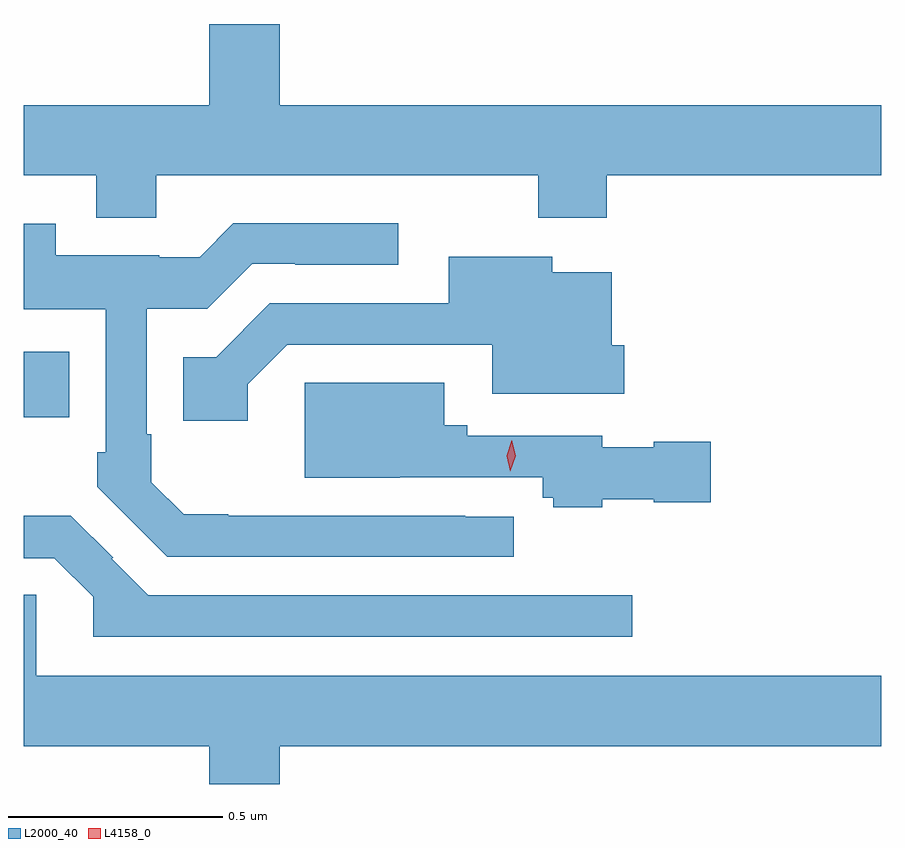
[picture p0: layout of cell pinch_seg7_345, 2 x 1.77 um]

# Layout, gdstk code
import gdstk
lib = gdstk.Library(unit=1e-6, precision=1e-09)
def R(c, l, rs):  # rectangles x0, y0, x1, y1
    for r in rs: c.add(gdstk.rectangle(r[:2], r[2:], *l))
def P(c, l, *ps):  # polygons
    for p in ps: c.add(gdstk.Polygon(p, *l))
L2000_40 = (2000, 40)
L4158_0 = (4158, 0)

pinch_seg7_345 = lib.new_cell('pinch_seg7_345')
R(pinch_seg7_345, L2000_40, [(368.371,1069.316,368.477,1069.468)])
P(pinch_seg7_345, L2000_40, [(368.68,1069.88),(369.571,1069.88),(369.571,1069.781),(369.731,1069.781),(369.731,1069.88),(370.371,1069.88),(370.371,1070.044),(368.968,1070.044),(368.968,1070.233),(368.804,1070.233),(368.804,1070.044),(368.371,1070.044),(368.371,1069.88),(368.54,1069.88),(368.54,1069.781),(368.68,1069.781)],
  [(369.514,1069.084),(369.401,1069.084),(369.401,1069.086),(368.848,1069.086),(368.848,1069.089),(368.744,1069.089),(368.668,1069.164),(368.668,1069.276),(368.658,1069.276),(368.658,1069.569),(368.799,1069.569),(368.904,1069.674),(369.004,1069.674),(369.004,1069.671),(369.244,1069.671),(369.244,1069.768),(368.86,1069.768),(368.781,1069.689),(368.687,1069.689),(368.687,1069.693),(368.446,1069.693),(368.446,1069.767),(368.371,1069.767),(368.371,1069.568),(368.562,1069.568),(368.562,1069.234),(368.542,1069.234),(368.542,1069.153),(368.705,1068.99),(369.514,1068.99)],
  [(368.893,1069.393),(368.985,1069.485),(369.464,1069.485),(369.464,1069.37),(369.772,1069.37),(369.772,1069.484),(369.742,1069.484),(369.742,1069.654),(369.604,1069.654),(369.604,1069.69),(369.362,1069.69),(369.362,1069.581),(368.945,1069.581),(368.82,1069.456),(368.743,1069.456),(368.743,1069.308),(368.893,1069.308)],
  [(369.72,1069.124),(369.84,1069.124),(369.84,1069.117),(369.973,1069.117),(369.973,1069.259),(369.84,1069.259),(369.84,1069.246),(369.72,1069.246),(369.72,1069.272),(369.405,1069.272),(369.405,1069.297),(369.352,1069.297),(369.352,1069.396),(369.026,1069.396),(369.026,1069.175),(369.248,1069.175),(369.248,1069.176),(369.582,1069.176),(369.582,1069.128),(369.606,1069.128),(369.606,1069.106),(369.72,1069.106)],
  [(369.79,1068.9),(368.661,1068.9),(368.576,1068.985),(368.579,1068.988),(368.481,1069.086),(368.371,1069.086),(368.371,1068.987),(368.442,1068.987),(368.533,1068.897),(368.533,1068.804),(369.79,1068.804)],
  [(368.968,1068.548),(370.371,1068.548),(370.371,1068.712),(368.4,1068.712),(368.4,1068.902),(368.371,1068.902),(368.371,1068.548),(368.804,1068.548),(368.804,1068.46),(368.968,1068.46)])
P(pinch_seg7_345, L4158_0, [(369.506,1069.19),(369.506,1069.19),(369.497,1069.226),(369.509,1069.262),(369.509,1069.262),(369.509,1069.262),(369.518,1069.226),(369.506,1069.19)])

lib.write_gds('pinch_seg7_345.gds')
